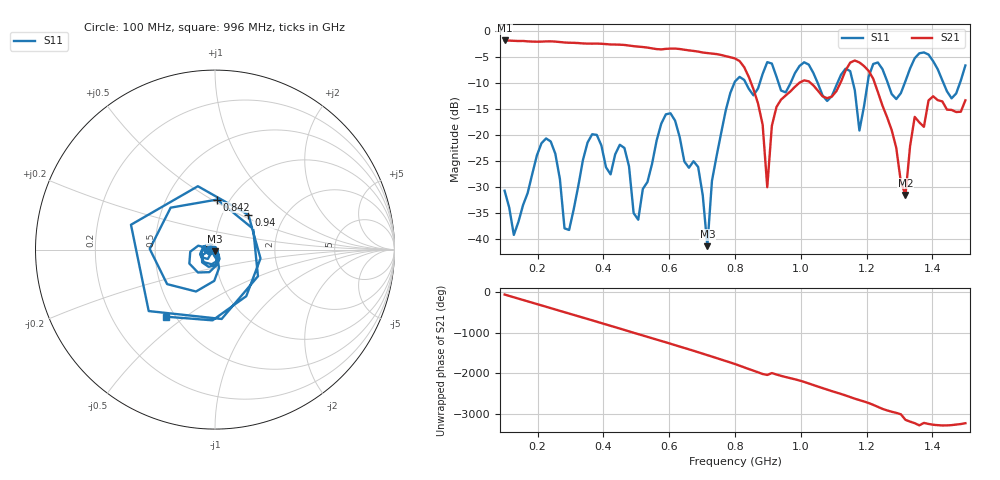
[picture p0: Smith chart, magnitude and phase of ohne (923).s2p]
! NanoVNA-App
! Date: 2025-09-25 14:27:59
! Start: 100MHz Stop: 1,5GHz Points: 101
! S-Parameter data: F S11 S21 S12 S22
# Hz S RI R 50
!  Frequency  S11_Real  S11_Imag  S21_Real  S21_Imag  S12_Real  S12_Imag  S22_Real  S22_Imag
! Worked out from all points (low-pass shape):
!   101 points, 100 MHz to 1.5 GHz, reference 50 ohm
!   highest |S21| = -1.79 dB at 100 MHz (marker M1); lowest = -31.5 dB at 1.318 GHz (marker M2)
!   |S21| within 3 dB of the highest: start of sweep to 771.1 MHz
!   lowest |S11| = -41.3 dB at 716 MHz (marker M3), VSWR 1.02, Z = 49.8 - j0.844 ohm
!   |S11| at or under -10 dB: start of sweep to 797.8 MHz; 833.2 MHz to 875 MHz (41.88 MHz wide, 4.9 % of centre); 1.052 GHz to 1.111 GHz (59.26 MHz wide, 5.48 % of centre) (the widest 3 of 7)
!   S12 and S22 are empty: the file has one direction only
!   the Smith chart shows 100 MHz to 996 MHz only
!   S11 on the Smith chart (normalised r, x): 100 MHz: 0.94, -0.01; 842 MHz: 0.88, +0.53; 940 MHz: 1.32, +0.55; 996 MHz: 0.45, -0.42
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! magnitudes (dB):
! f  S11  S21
! 100 MHz  -30.6  -1.8
! 128 MHz  -39.1  -1.9
! 226 MHz  -20.6  -2.0
! 296 MHz  -38.2  -2.2
! 338 MHz  -24.7  -2.4
! 464 MHz  -22.4  -2.7
! 506 MHz  -36.2  -3.0
! 576 MHz  -17.8  -3.5
! 688 MHz  -26.1  -3.9
! 716 MHz  -41.3  -4.2
! 800 MHz  -9.7  -5.3
! 842 MHz  -11.1  -8.8
! 898 MHz  -6.0  -30.0
! 940 MHz  -11.4  -13.1
! 996 MHz  -6.7  -9.9
! 1.038 GHz  -8.0  -10.4
! 1.178 GHz  -19.1  -6.0
! 1.22 GHz  -6.3  -9.2
! 1.276 GHz  -12.1  -19.0
! 1.318 GHz  -9.6  -31.5
! 1.346 GHz  -5.2  -16.5
! 1.5 GHz  -6.6  -13.3
